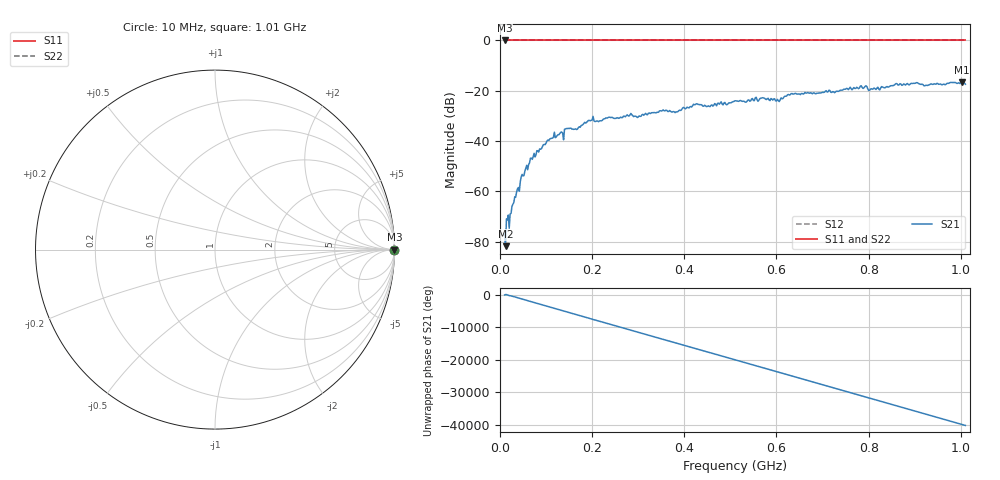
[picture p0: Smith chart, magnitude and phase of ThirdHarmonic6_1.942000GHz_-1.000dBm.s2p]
! 8/16/2025 11:23:46 PM
! C:\ANRITSUVNA\TEMP\TEMP.S2P
! CHANNEL.1
! TR.MEASUREMENT
! RAW.DATA
! RF.CORRECTION.OFF
! AVERAGING.OFF
! IF.BANDWIDTH: 5KHZ
! SWEEPTYPE:  FREQ.SWEEP(Linear)
! Reference Plane Port Info
! PORT:  PORT1  PORT2
! DISTANCE:  0  m  0  m
! TIME:  0  s  0  s
! PHASE.OFFSET:  0  deg.  0  deg.
! LOSS:  0  dB  0  dB
! REF.LOSS:  0  dB  0  dB
! REF.FREQ:  0  Hz  0  Hz
! Power Info
! POWER:  -20  dBm  -20  dBm
! EFF.POWER:  -20  dBm  -20  dBm
! SOURCE.ATTEN:  0  dB  0  dB
! TEST.ATTEN:  0  dB  0  dB
# GHZ S RI R 50.0
! FREQ.GHZ  S11RE  S11IM  S21RE  S21IM  S12RE  S12IM  S22RE  S22IM
!; PortSelection: Port_12
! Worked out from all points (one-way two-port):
!   501 points, 10 MHz to 1.01 GHz, reference 50 ohm
!   highest |S21| = -16.67 dB at 1.002 GHz (marker M1); lowest = -81.8 dB at 12 MHz (marker M2)
!   lowest |S11| = 0.0 dB at 10 MHz (marker M3)
!   |S11| at or under -10 dB: nowhere
!   |S22| runs from 0.0 to 0.0 dB; largest |S21 - S12| = 1.1
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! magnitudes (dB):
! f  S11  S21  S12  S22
! 10 MHz  0.0  -76.8  0.0  0.0
! 12 MHz  0.0  -81.8  0.0  0.0
! 48 MHz  0.0  -53.2  0.0  0.0
! 70 MHz  0.0  -47.2  0.0  0.0
! 114 MHz  0.0  -38.8  0.0  0.0
! 134 MHz  0.0  -36.4  0.0  0.0
! 144 MHz  0.0  -35.0  0.0  0.0
! 178 MHz  0.0  -33.7  0.0  0.0
! 198 MHz  0.0  -31.8  0.0  0.0
! 302 MHz  0.0  -30.0  0.0  0.0
! 344 MHz  0.0  -28.5  0.0  0.0
! 382 MHz  0.0  -28.4  0.0  0.0
! 424 MHz  0.0  -25.5  0.0  0.0
! 452 MHz  0.0  -26.0  0.0  0.0
! 510 MHz  0.0  -24.0  0.0  0.0
! 570 MHz  0.0  -22.7  0.0  0.0
! 602 MHz  0.0  -23.4  0.0  0.0
! 630 MHz  0.0  -21.5  0.0  0.0
! 678 MHz  0.0  -21.2  0.0  0.0
! 844 MHz  0.0  -18.4  0.0  0.0
! 1.002 GHz  0.0  -16.7  0.0  0.0
! 1.01 GHz  0.0  -17.4  0.0  0.0
